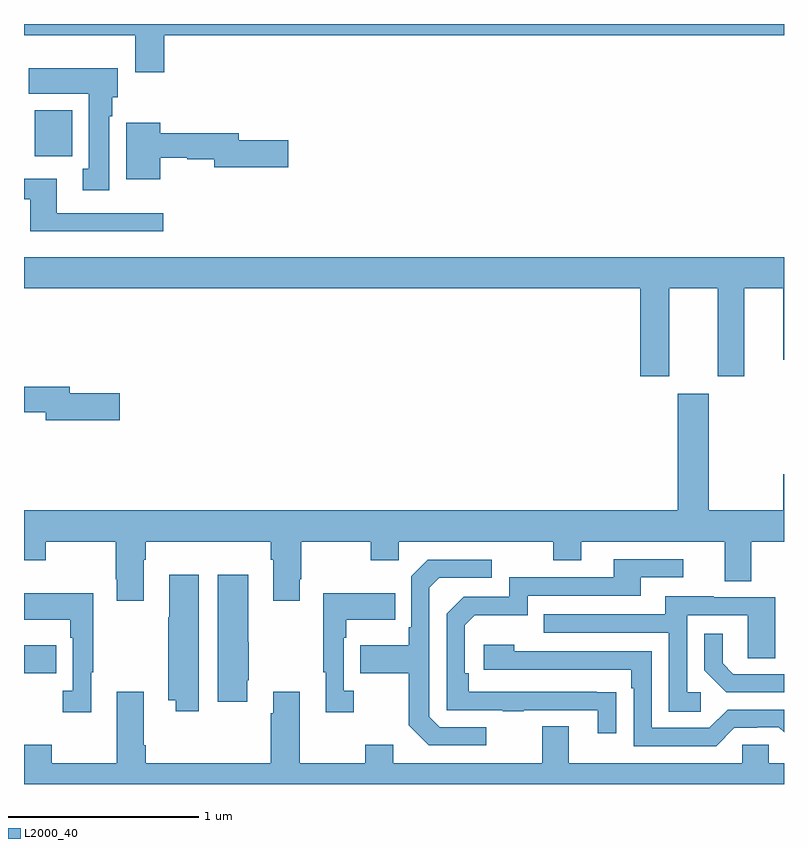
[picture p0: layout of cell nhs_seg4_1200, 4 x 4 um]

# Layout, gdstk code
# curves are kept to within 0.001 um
import gdstk
lib = gdstk.Library(unit=1e-6, precision=1e-09)
def R(c, l, rs):  # rectangles x0, y0, x1, y1
    for r in rs: c.add(gdstk.rectangle(r[:2], r[2:], *l))
def P(c, l, *ps):  # polygons
    for p in ps: c.add(gdstk.Polygon(p, *l))
L2000_40 = (2000, 40)

nhs_seg4_1200 = lib.new_cell('nhs_seg4_1200')
R(nhs_seg4_1200, L2000_40, [(173,773.482,173.171,773.629), (173.057,776.204,173.254,776.446)])
P(nhs_seg4_1200, L2000_40, [(173.738,776.84),(177,776.84),(177,776.9),(173,776.9),(173,776.84),(173.585,776.84),(173.585,776.646),(173.738,776.646)],
  [(173.449,776.414),(173.464,776.414),(173.464,776.514),(173.494,776.514),(173.494,776.668),(173.025,776.668),(173.025,776.534),(173.342,776.534),(173.342,776.138),(173.309,776.138),(173.309,776.025),(173.449,776.025)],
  [(173.716,776.196),(173.859,776.196),(173.859,776.188),(174.002,776.188),(174.002,776.146),(174.391,776.146),(174.391,776.288),(174.13,776.288),(174.13,776.324),(173.716,776.324),(173.716,776.38),(173.537,776.38),(173.537,776.084),(173.716,776.084)],
  [(173.734,775.905),(173.173,775.905),(173.173,776.086),(173,776.086),(173,775.977),(173.033,775.977),(173.033,775.808),(173.734,775.808)],
  [(176.395,775.508),(176.651,775.508),(176.651,775.047),(176.791,775.047),(176.791,775.508),(176.996,775.508),(176.996,775.134),(177,775.134),(177,775.672),(173,775.672),(173,775.508),(176.243,775.508),(176.243,775.047),(176.395,775.047)],
  [(173.503,774.956),(173.242,774.956),(173.242,774.992),(173,774.992),(173,774.856),(173.114,774.856),(173.114,774.814),(173.503,774.814)],
  [(177,774.529),(176.996,774.529),(176.996,774.34),(176.605,774.34),(176.605,774.955),(176.441,774.955),(176.441,774.34),(173,774.34),(173,774.077),(173.115,774.077),(173.115,774.176),(173.482,774.176),(173.482,773.977),(173.489,773.977),(173.489,773.865),(173.629,773.865),(173.629,774.08),(173.642,774.08),(173.642,774.176),(174.299,774.176),(174.299,774.08),(174.311,774.08),(174.311,773.865),(174.451,773.865),(174.451,773.977),(174.459,773.977),(174.459,774.176),(174.826,774.176),(174.826,774.077),(174.972,774.077),(174.972,774.176),(175.786,774.176),(175.786,774.077),(175.933,774.077),(175.933,774.176),(176.687,774.176),(176.687,773.968),(176.827,773.968),(176.827,774.176),(177,774.176)],
  [(176.117,773.384),(175.34,773.385),(175.34,773.482),(175.32,773.482),(175.32,773.736),(175.373,773.789),(175.65,773.789),(175.65,773.892),(176.245,773.892),(176.245,773.988),(176.47,773.988),(176.47,774.084),(176.105,774.084),(176.105,773.988),(175.554,773.988),(175.554,773.886),(175.314,773.886),(175.224,773.796),(175.224,773.289),(175.519,773.289),(175.519,773.284),(175.631,773.284),(175.631,773.289),(176.021,773.289),(176.021,773.166),(176.117,773.166)],
  [(175.432,773.199),(175.188,773.199),(175.134,773.253),(175.134,773.934),(175.185,773.985),(175.462,773.985),(175.462,774.081),(175.125,774.081),(175.038,773.994),(175.038,773.725),(175.026,773.725),(175.026,773.629),(174.769,773.629),(174.769,773.482),(175.026,773.482),(175.026,773.209),(175.131,773.103),(175.432,773.103)],
  [(173.92,774.001),(173.765,774.001),(173.765,773.777),(173.758,773.777),(173.758,773.342),(173.798,773.342),(173.798,773.283),(173.92,773.283)],
  [(174.175,773.446),(174.183,773.446),(174.183,773.646),(174.181,773.646),(174.181,774.001),(174.02,774.001),(174.02,773.334),(174.175,773.334)],
  [(173.353,773.489),(173.365,773.489),(173.365,773.905),(173,773.905),(173,773.765),(173.244,773.765),(173.244,773.669),(173.256,773.669),(173.256,773.39),(173.205,773.39),(173.205,773.277),(173.353,773.277)],
  [(174.736,773.39),(174.684,773.39),(174.684,773.669),(174.697,773.669),(174.697,773.765),(174.953,773.765),(174.953,773.905),(174.576,773.905),(174.576,773.489),(174.587,773.489),(174.587,773.277),(174.736,773.277)],
  [(176.563,773.382),(176.49,773.382),(176.49,773.787),(176.808,773.787),(176.808,773.563),(176.953,773.563),(176.953,773.883),(176.629,773.883),(176.629,773.887),(176.375,773.887),(176.375,773.793),(175.735,773.793),(175.735,773.697),(176.394,773.697),(176.394,773.281),(176.563,773.281)],
  [(177,773.478),(176.734,773.478),(176.677,773.535),(176.677,773.692),(176.58,773.692),(176.58,773.498),(176.696,773.382),(177,773.382)],
  [(176.739,773.196),(176.858,773.196),(176.858,773.199),(176.973,773.199),(177,773.172),(177,773.292),(176.703,773.292),(176.607,773.196),(176.304,773.196),(176.304,773.598),(175.58,773.598),(175.58,773.632),(175.419,773.632),(175.419,773.502),(176.195,773.502),(176.195,773.405),(176.208,773.405),(176.208,773.1),(176.643,773.1)],
  [(177,773.008),(176.919,773.008),(176.919,773.106),(176.781,773.106),(176.781,773.008),(175.867,773.008),(175.867,773.203),(175.727,773.203),(175.727,773.008),(174.943,773.008),(174.943,773.107),(174.796,773.107),(174.796,773.008),(174.451,773.008),(174.451,773.386),(174.311,773.386),(174.311,773.273),(174.299,773.273),(174.299,773.008),(173.642,773.008),(173.642,773.104),(173.629,773.104),(173.629,773.386),(173.489,773.386),(173.489,773.008),(173.145,773.008),(173.145,773.107),(173,773.107),(173,772.9),(177,772.9)])

lib.write_gds('nhs_seg4_1200.gds')
